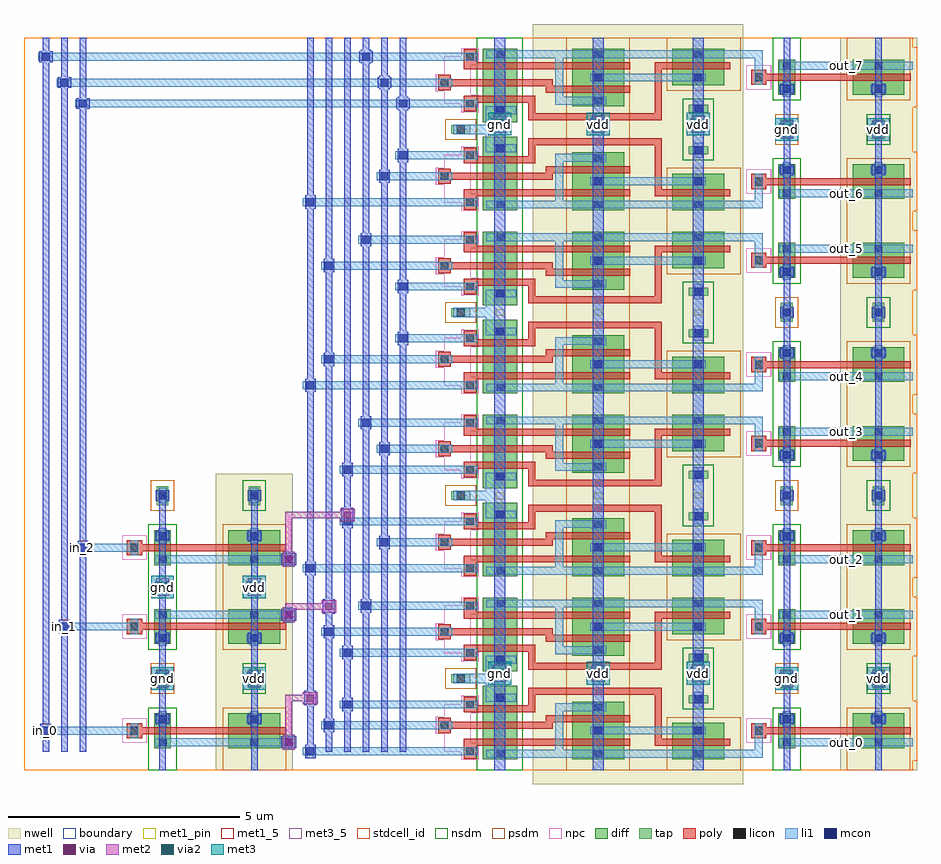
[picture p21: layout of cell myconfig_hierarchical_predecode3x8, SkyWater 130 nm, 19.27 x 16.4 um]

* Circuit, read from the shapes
.subckt myconfig_hierarchical_predecode3x8 gnd in_0 in_1 in_2 out_0 out_1 out_2 out_3 out_4 out_5 out_6 out_7 vdd
XM1 gnd in_0 myconfig_and3_dec_3/A gnd sky130_fd_pr__nfet_01v8 w=0.36 l=0.15
XM2 myconfig_and3_dec_3/B in_1 gnd gnd sky130_fd_pr__nfet_01v8 w=0.36 l=0.15
XM3 gnd in_2 myconfig_and3_dec_3/C gnd sky130_fd_pr__nfet_01v8 w=0.36 l=0.15
XM4 n1 myconfig_and3_dec_3/A myconfig_and3_dec_3/myconfig_pinv_dec_1/A gnd sky130_fd_pr__nfet_01v8 w=0.74 l=0.15
XM5 n2 myconfig_and3_dec_3/B n1 gnd sky130_fd_pr__nfet_01v8 w=0.74 l=0.15
XM6 gnd myconfig_and3_dec_3/C n2 gnd sky130_fd_pr__nfet_01v8 w=0.74 l=0.15
XM7 n3 myconfig_and3_dec_3/C gnd gnd sky130_fd_pr__nfet_01v8 w=0.74 l=0.15
XM8 n4 myconfig_and3_dec_3/B n3 gnd sky130_fd_pr__nfet_01v8 w=0.74 l=0.15
XM9 myconfig_and3_dec_4/myconfig_pinv_dec_1/A in_0 n4 gnd sky130_fd_pr__nfet_01v8 w=0.74 l=0.15
XM10 n5 myconfig_and3_dec_3/A myconfig_and3_dec_5/myconfig_pinv_dec_1/A gnd sky130_fd_pr__nfet_01v8 w=0.74 l=0.15
XM11 n6 in_1 n5 gnd sky130_fd_pr__nfet_01v8 w=0.74 l=0.15
XM12 gnd myconfig_and3_dec_3/C n6 gnd sky130_fd_pr__nfet_01v8 w=0.74 l=0.15
XM13 n7 myconfig_and3_dec_3/C gnd gnd sky130_fd_pr__nfet_01v8 w=0.74 l=0.15
XM14 n8 in_1 n7 gnd sky130_fd_pr__nfet_01v8 w=0.74 l=0.15
XM15 myconfig_and3_dec_6/myconfig_pinv_dec_1/A in_0 n8 gnd sky130_fd_pr__nfet_01v8 w=0.74 l=0.15
XM16 n9 myconfig_and3_dec_3/A myconfig_and3_dec_7/myconfig_pinv_dec_1/A gnd sky130_fd_pr__nfet_01v8 w=0.74 l=0.15
XM17 n10 myconfig_and3_dec_3/B n9 gnd sky130_fd_pr__nfet_01v8 w=0.74 l=0.15
XM18 gnd in_2 n10 gnd sky130_fd_pr__nfet_01v8 w=0.74 l=0.15
XM19 n11 in_2 gnd gnd sky130_fd_pr__nfet_01v8 w=0.74 l=0.15
XM20 n12 myconfig_and3_dec_3/B n11 gnd sky130_fd_pr__nfet_01v8 w=0.74 l=0.15
XM21 myconfig_and3_dec_8/myconfig_pinv_dec_1/A in_0 n12 gnd sky130_fd_pr__nfet_01v8 w=0.74 l=0.15
XM22 n13 myconfig_and3_dec_3/A myconfig_and3_dec_9/myconfig_pinv_dec_1/A gnd sky130_fd_pr__nfet_01v8 w=0.74 l=0.15
XM23 n14 in_1 n13 gnd sky130_fd_pr__nfet_01v8 w=0.74 l=0.15
XM24 gnd in_2 n14 gnd sky130_fd_pr__nfet_01v8 w=0.74 l=0.15
XM25 n15 in_2 gnd gnd sky130_fd_pr__nfet_01v8 w=0.74 l=0.15
XM26 n16 in_1 n15 gnd sky130_fd_pr__nfet_01v8 w=0.74 l=0.15
XM27 myconfig_and3_dec_10/myconfig_pinv_dec_1/A in_0 n16 gnd sky130_fd_pr__nfet_01v8 w=0.74 l=0.15
XM28 gnd myconfig_and3_dec_3/myconfig_pinv_dec_1/A out_0 gnd sky130_fd_pr__nfet_01v8 w=0.36 l=0.15
XM29 out_1 myconfig_and3_dec_4/myconfig_pinv_dec_1/A gnd gnd sky130_fd_pr__nfet_01v8 w=0.36 l=0.15
XM30 gnd myconfig_and3_dec_5/myconfig_pinv_dec_1/A out_2 gnd sky130_fd_pr__nfet_01v8 w=0.36 l=0.15
XM31 out_3 myconfig_and3_dec_6/myconfig_pinv_dec_1/A gnd gnd sky130_fd_pr__nfet_01v8 w=0.36 l=0.15
XM32 gnd myconfig_and3_dec_7/myconfig_pinv_dec_1/A out_4 gnd sky130_fd_pr__nfet_01v8 w=0.36 l=0.15
XM33 out_5 myconfig_and3_dec_8/myconfig_pinv_dec_1/A gnd gnd sky130_fd_pr__nfet_01v8 w=0.36 l=0.15
XM34 gnd myconfig_and3_dec_9/myconfig_pinv_dec_1/A out_6 gnd sky130_fd_pr__nfet_01v8 w=0.36 l=0.15
XM35 out_7 myconfig_and3_dec_10/myconfig_pinv_dec_1/A gnd gnd sky130_fd_pr__nfet_01v8 w=0.36 l=0.15
XM36 vdd in_0 myconfig_and3_dec_3/A vdd sky130_fd_pr__pfet_01v8 w=1.12 l=0.15
XM37 myconfig_and3_dec_3/B in_1 vdd vdd sky130_fd_pr__pfet_01v8 w=1.12 l=0.15
XM38 vdd in_2 myconfig_and3_dec_3/C vdd sky130_fd_pr__pfet_01v8 w=1.12 l=0.15
XM39 vdd myconfig_and3_dec_3/A myconfig_and3_dec_3/myconfig_pinv_dec_1/A vdd sky130_fd_pr__pfet_01v8 w=1.12 l=0.15
XM40 myconfig_and3_dec_3/myconfig_pinv_dec_1/A myconfig_and3_dec_3/B vdd vdd sky130_fd_pr__pfet_01v8 w=1.12 l=0.15
XM41 vdd myconfig_and3_dec_3/B myconfig_and3_dec_4/myconfig_pinv_dec_1/A vdd sky130_fd_pr__pfet_01v8 w=1.12 l=0.15
XM42 myconfig_and3_dec_4/myconfig_pinv_dec_1/A in_0 vdd vdd sky130_fd_pr__pfet_01v8 w=1.12 l=0.15
XM43 vdd myconfig_and3_dec_3/A myconfig_and3_dec_5/myconfig_pinv_dec_1/A vdd sky130_fd_pr__pfet_01v8 w=1.12 l=0.15
XM44 myconfig_and3_dec_5/myconfig_pinv_dec_1/A in_1 vdd vdd sky130_fd_pr__pfet_01v8 w=1.12 l=0.15
XM45 vdd in_1 myconfig_and3_dec_6/myconfig_pinv_dec_1/A vdd sky130_fd_pr__pfet_01v8 w=1.12 l=0.15
XM46 myconfig_and3_dec_6/myconfig_pinv_dec_1/A in_0 vdd vdd sky130_fd_pr__pfet_01v8 w=1.12 l=0.15
XM47 vdd myconfig_and3_dec_3/A myconfig_and3_dec_7/myconfig_pinv_dec_1/A vdd sky130_fd_pr__pfet_01v8 w=1.12 l=0.15
XM48 myconfig_and3_dec_7/myconfig_pinv_dec_1/A myconfig_and3_dec_3/B vdd vdd sky130_fd_pr__pfet_01v8 w=1.12 l=0.15
XM49 vdd myconfig_and3_dec_3/B myconfig_and3_dec_8/myconfig_pinv_dec_1/A vdd sky130_fd_pr__pfet_01v8 w=1.12 l=0.15
XM50 myconfig_and3_dec_8/myconfig_pinv_dec_1/A in_0 vdd vdd sky130_fd_pr__pfet_01v8 w=1.12 l=0.15
XM51 vdd myconfig_and3_dec_3/A myconfig_and3_dec_9/myconfig_pinv_dec_1/A vdd sky130_fd_pr__pfet_01v8 w=1.12 l=0.15
XM52 myconfig_and3_dec_9/myconfig_pinv_dec_1/A in_1 vdd vdd sky130_fd_pr__pfet_01v8 w=1.12 l=0.15
XM53 vdd in_1 myconfig_and3_dec_10/myconfig_pinv_dec_1/A vdd sky130_fd_pr__pfet_01v8 w=1.12 l=0.15
XM54 myconfig_and3_dec_10/myconfig_pinv_dec_1/A in_0 vdd vdd sky130_fd_pr__pfet_01v8 w=1.12 l=0.15
XM55 vdd myconfig_and3_dec_3/C myconfig_and3_dec_3/myconfig_pinv_dec_1/A vdd sky130_fd_pr__pfet_01v8 w=1.12 l=0.15
XM56 myconfig_and3_dec_4/myconfig_pinv_dec_1/A myconfig_and3_dec_3/C vdd vdd sky130_fd_pr__pfet_01v8 w=1.12 l=0.15
XM57 vdd myconfig_and3_dec_3/C myconfig_and3_dec_5/myconfig_pinv_dec_1/A vdd sky130_fd_pr__pfet_01v8 w=1.12 l=0.15
XM58 myconfig_and3_dec_6/myconfig_pinv_dec_1/A myconfig_and3_dec_3/C vdd vdd sky130_fd_pr__pfet_01v8 w=1.12 l=0.15
XM59 vdd in_2 myconfig_and3_dec_7/myconfig_pinv_dec_1/A vdd sky130_fd_pr__pfet_01v8 w=1.12 l=0.15
XM60 myconfig_and3_dec_8/myconfig_pinv_dec_1/A in_2 vdd vdd sky130_fd_pr__pfet_01v8 w=1.12 l=0.15
XM61 vdd in_2 myconfig_and3_dec_9/myconfig_pinv_dec_1/A vdd sky130_fd_pr__pfet_01v8 w=1.12 l=0.15
XM62 myconfig_and3_dec_10/myconfig_pinv_dec_1/A in_2 vdd vdd sky130_fd_pr__pfet_01v8 w=1.12 l=0.15
XM63 vdd myconfig_and3_dec_3/myconfig_pinv_dec_1/A out_0 vdd sky130_fd_pr__pfet_01v8 w=1.12 l=0.15
XM64 out_1 myconfig_and3_dec_4/myconfig_pinv_dec_1/A vdd vdd sky130_fd_pr__pfet_01v8 w=1.12 l=0.15
XM65 vdd myconfig_and3_dec_5/myconfig_pinv_dec_1/A out_2 vdd sky130_fd_pr__pfet_01v8 w=1.12 l=0.15
XM66 out_3 myconfig_and3_dec_6/myconfig_pinv_dec_1/A vdd vdd sky130_fd_pr__pfet_01v8 w=1.12 l=0.15
XM67 vdd myconfig_and3_dec_7/myconfig_pinv_dec_1/A out_4 vdd sky130_fd_pr__pfet_01v8 w=1.12 l=0.15
XM68 out_5 myconfig_and3_dec_8/myconfig_pinv_dec_1/A vdd vdd sky130_fd_pr__pfet_01v8 w=1.12 l=0.15
XM69 vdd myconfig_and3_dec_9/myconfig_pinv_dec_1/A out_6 vdd sky130_fd_pr__pfet_01v8 w=1.12 l=0.15
XM70 out_7 myconfig_and3_dec_10/myconfig_pinv_dec_1/A vdd vdd sky130_fd_pr__pfet_01v8 w=1.12 l=0.15
.ends

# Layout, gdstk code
from math import pi, radians
import gdstk
lib = gdstk.Library(unit=1e-6, precision=1e-09)
def R(c, l, rs):  # rectangles x0, y0, x1, y1
    for r in rs: c.add(gdstk.rectangle(r[:2], r[2:], *l))
def A(c, l, x, y, w, h, nx, ny, dx, dy):  # array of equal rectangles
    R(c, l, [(x+i*dx, y+j*dy, x+i*dx+w, y+j*dy+h) for i in range(nx) for j in range(ny)])
nwell = (64, 20)
diff = (65, 20)
tap = (65, 44)
poly = (66, 20)
licon = (66, 44)
li1 = (67, 20)
mcon = (67, 44)
met1_5 = (68, 5)
met1_pin = (68, 16)
met1 = (68, 20)
via = (68, 44)
met2 = (69, 20)
via2 = (69, 44)
met3_5 = (70, 5)
met3 = (70, 20)
stdcell_id = (81, 4)
nsdm = (93, 44)
psdm = (94, 20)
npc = (95, 20)
boundary = (235, 4)

myconfig_contact_11 = lib.new_cell('myconfig_contact_11')
R(myconfig_contact_11, nwell, [(-0.295,-0.255,0.545,0.585)])
R(myconfig_contact_11, diff, [(0,0.02,0.25,0.31)])
R(myconfig_contact_11, licon, [(0.04,0.08,0.21,0.25)])
R(myconfig_contact_11, li1, [(0.04,0,0.21,0.33)])
R(myconfig_contact_11, stdcell_id, [(-0.295,-0.255,0.545,0.585)])
R(myconfig_contact_11, psdm, [(-0.125,-0.105,0.375,0.435)])
R(myconfig_contact_11, boundary, [(-0.295,-0.255,0.545,0.585)])

myconfig_pmos_m1_w1_120_ = lib.new_cell('myconfig_pmos_m1_w1_120_sli_dli_da_p')
R(myconfig_pmos_m1_w1_120_, nwell, [(-0.27,-0.27,1.02,1.39)])
R(myconfig_pmos_m1_w1_120_, diff, [(0,0,0.75,1.12)])
R(myconfig_pmos_m1_w1_120_, poly, [(0.3,-0.13,0.45,1.25), (0.3,-0.13,0.45,1.25)])
R(myconfig_pmos_m1_w1_120_, li1, [(0.04,0.395,0.21,0.725), (0.54,0.395,0.71,0.725)])
R(myconfig_pmos_m1_w1_120_, stdcell_id, [(-0.27,-0.27,1.02,1.39)])
R(myconfig_pmos_m1_w1_120_, psdm, [(-0.125,-0.125,0.875,1.245)])
R(myconfig_pmos_m1_w1_120_, boundary, [(-0.27,-0.27,1.02,1.39)])
myconfig_pmos_m1_w1_120_.add(gdstk.Reference(myconfig_contact_11, (0,0.395)))
myconfig_pmos_m1_w1_120_.add(gdstk.Reference(myconfig_contact_11, (0.5,0.395)))
myconfig_pmos_m1_w1_120_.add(gdstk.Label('G', (0.375,0.56), layer=66, texttype=5))
myconfig_pmos_m1_w1_120_.add(gdstk.Label('S', (0.125,0.56), layer=67, texttype=5))
myconfig_pmos_m1_w1_120_.add(gdstk.Label('D', (0.625,0.56), layer=67, texttype=5))

myconfig_contact_10 = lib.new_cell('myconfig_contact_10')
R(myconfig_contact_10, diff, [(0,0.02,0.25,0.31)])
R(myconfig_contact_10, licon, [(0.04,0.08,0.21,0.25)])
R(myconfig_contact_10, li1, [(0.04,0,0.21,0.33)])
R(myconfig_contact_10, stdcell_id, [(-0.125,-0.105,0.375,0.435)])
R(myconfig_contact_10, nsdm, [(-0.125,-0.105,0.375,0.435)])
R(myconfig_contact_10, boundary, [(-0.125,-0.105,0.375,0.435)])

myconfig_nmos_m1_w0_360_ = lib.new_cell('myconfig_nmos_m1_w0_360_sli_dli_da_p')
R(myconfig_nmos_m1_w0_360_, diff, [(0,0,0.75,0.36)])
R(myconfig_nmos_m1_w0_360_, poly, [(0.3,-0.13,0.45,0.49), (0.3,-0.13,0.45,0.49)])
R(myconfig_nmos_m1_w0_360_, li1, [(0.04,0.015,0.21,0.345), (0.54,0.015,0.71,0.345)])
R(myconfig_nmos_m1_w0_360_, stdcell_id, [(-0.125,-0.13,0.875,0.49)])
R(myconfig_nmos_m1_w0_360_, nsdm, [(-0.125,-0.125,0.875,0.485)])
R(myconfig_nmos_m1_w0_360_, boundary, [(-0.125,-0.13,0.875,0.49)])
myconfig_nmos_m1_w0_360_.add(gdstk.Reference(myconfig_contact_10, (0,0.015)))
myconfig_nmos_m1_w0_360_.add(gdstk.Reference(myconfig_contact_10, (0.5,0.015)))
myconfig_nmos_m1_w0_360_.add(gdstk.Label('G', (0.375,0.18), layer=66, texttype=5))
myconfig_nmos_m1_w0_360_.add(gdstk.Label('S', (0.125,0.18), layer=67, texttype=5))
myconfig_nmos_m1_w0_360_.add(gdstk.Label('D', (0.625,0.18), layer=67, texttype=5))

myconfig_contact_12 = lib.new_cell('myconfig_contact_12')
R(myconfig_contact_12, nwell, [(-0.295,-0.215,0.545,0.625)])
R(myconfig_contact_12, tap, [(0,0,0.25,0.41)])
R(myconfig_contact_12, licon, [(0.04,0.12,0.21,0.29)])
R(myconfig_contact_12, li1, [(0.04,0.04,0.21,0.37)])
R(myconfig_contact_12, stdcell_id, [(-0.295,-0.215,0.545,0.625)])
R(myconfig_contact_12, nsdm, [(-0.125,-0.125,0.375,0.535)])
R(myconfig_contact_12, boundary, [(-0.295,-0.215,0.545,0.625)])

myconfig_contact_13 = lib.new_cell('myconfig_contact_13')
R(myconfig_contact_13, li1, [(0.06,0,0.23,0.33)])
R(myconfig_contact_13, mcon, [(0.06,0.08,0.23,0.25)])
R(myconfig_contact_13, met1, [(0,0.05,0.29,0.28)])
R(myconfig_contact_13, stdcell_id, [(0,0,0.29,0.33)])
R(myconfig_contact_13, boundary, [(0,0,0.29,0.33)])

myconfig_contact_14 = lib.new_cell('myconfig_contact_14')
R(myconfig_contact_14, tap, [(0,0,0.25,0.41)])
R(myconfig_contact_14, licon, [(0.04,0.12,0.21,0.29)])
R(myconfig_contact_14, li1, [(0.04,0.04,0.21,0.37)])
R(myconfig_contact_14, stdcell_id, [(-0.125,-0.125,0.375,0.535)])
R(myconfig_contact_14, psdm, [(-0.125,-0.125,0.375,0.535)])
R(myconfig_contact_14, boundary, [(-0.125,-0.125,0.375,0.535)])

myconfig_contact_15 = lib.new_cell('myconfig_contact_15')
R(myconfig_contact_15, poly, [(0,0,0.33,0.33)])
R(myconfig_contact_15, licon, [(0.08,0.08,0.25,0.25)])
R(myconfig_contact_15, li1, [(0.08,0,0.25,0.33)])
R(myconfig_contact_15, stdcell_id, [(-0.1,-0.1,0.43,0.43)])
R(myconfig_contact_15, npc, [(-0.1,-0.1,0.43,0.43)])
R(myconfig_contact_15, boundary, [(-0.1,-0.1,0.43,0.43)])

myconfig_pinv_dec = lib.new_cell('myconfig_pinv_dec')
R(myconfig_pinv_dec, nwell, [(2.14,0,3.8,2.45)])
R(myconfig_pinv_dec, poly, [(0.385,0.775,0.68,0.925), (1.3,0.775,2.28,0.925)])
R(myconfig_pinv_dec, li1, [(0.825,0.515,3.71,0.685), (0.3,0.685,0.47,1.015)])
R(myconfig_pinv_dec, met1_5, [(0.92,0,1.06,1.975), (2.9,0,3.04,1.975)])
R(myconfig_pinv_dec, met1, [(0.92,0,1.06,1.975), (2.9,0,3.04,1.975)])
R(myconfig_pinv_dec, stdcell_id, [(0,0,3.71,1.975), (0,0,3.71,1.975)])
R(myconfig_pinv_dec, nsdm, [(0.685,0,1.295,1.225)])
R(myconfig_pinv_dec, psdm, [(2.285,0,3.655,1.225)])
R(myconfig_pinv_dec, boundary, [(0,0,3.71,1.975), (0,0,3.71,1.975)])
myconfig_pinv_dec.add(gdstk.Reference(myconfig_pmos_m1_w1_120_, (2.41,1.225), rotation=3*pi/2))
myconfig_pinv_dec.add(gdstk.Reference(myconfig_nmos_m1_w0_360_, (0.81,1.225), rotation=3*pi/2))
myconfig_pinv_dec.add(gdstk.Reference(myconfig_contact_12, (2.845,1.77)))
myconfig_pinv_dec.add(gdstk.Reference(myconfig_contact_13, (2.825,1.81)))
myconfig_pinv_dec.add(gdstk.Reference(myconfig_contact_14, (0.865,1.77)))
myconfig_pinv_dec.add(gdstk.Reference(myconfig_contact_13, (0.845,1.81)))
myconfig_pinv_dec.add(gdstk.Reference(myconfig_contact_15, (0.22,0.685)))
myconfig_pinv_dec.add(gdstk.Reference(myconfig_contact_13, (0.845,0.935)))
myconfig_pinv_dec.add(gdstk.Reference(myconfig_contact_13, (2.825,0.935)))
myconfig_pinv_dec.add(gdstk.Label('A', (0.385,0.85), layer=67, texttype=5))
myconfig_pinv_dec.add(gdstk.Label('Z', (2.268,0.6), layer=67, texttype=5))
myconfig_pinv_dec.add(gdstk.Label('gnd', (0.99,0.988), layer=68, texttype=5))
myconfig_pinv_dec.add(gdstk.Label('vdd', (2.97,0.988), layer=68, texttype=5))

sky130_fd_bd_sram__openr = lib.new_cell('sky130_fd_bd_sram__openram_dp_nand3_dec')
R(sky130_fd_bd_sram__openr, nwell, [(2.07,-0.3,6.61,2.37)])
R(sky130_fd_bd_sram__openr, diff, [(0.99,0.23,1.73,1.82), (2.92,0.23,4.04,1.48), (5.08,0.23,6.2,1.02)])
R(sky130_fd_bd_sram__openr, tap, [(5.43,1.44,5.85,1.61), (0.31,1.885,0.72,2.07)])
R(sky130_fd_bd_sram__openr, poly, [(0.58,0.24,0.85,0.53), (0.58,0.53,4.17,0.68), (4.7,0.53,6.33,0.68), (4.7,0.68,4.85,1.63), (0.03,0.8,0.3,0.89), (0.03,0.89,2.5,1.03), (0.03,1.03,4.17,1.04), (0.03,1.04,0.3,1.13), (2.35,1.04,4.17,1.18), (0.58,1.25,2.12,1.4), (0.58,1.4,0.85,1.58), (1.97,1.4,2.12,1.63), (1.97,1.63,4.85,1.78)])
A(sky130_fd_bd_sram__openr, licon, 3.395, 0.27, 0.17, 0.17, 1, 3, 0, 0.5)
R(sky130_fd_bd_sram__openr, licon, [(1.295,0.27,1.465,0.44), (5.555,0.27,5.725,0.44), (0.63,0.32,0.8,0.49), (5.555,0.77,5.725,0.94), (0.08,0.88,0.25,1.05), (0.63,1.33,0.8,1.5), (5.55,1.44,5.72,1.61), (1.305,1.48,1.475,1.65), (0.43,1.89,0.6,2.06)])
R(sky130_fd_bd_sram__openr, li1, [(1.06,0.27,6.61,0.44), (1.06,0.27,6.61,0.44), (0.55,0.32,0.88,0.49), (0.55,0.32,0.88,0.49), (2.555,0.44,2.725,1.275), (3.31,0.77,5.805,0.94), (0,0.88,0.33,1.05), (0,0.88,0.33,1.05), (3.31,1.27,3.65,1.275), (2.555,1.275,3.65,1.44), (0.55,1.33,0.88,1.5), (0.55,1.33,0.88,1.5), (5.55,1.36,5.74,1.69), (2.555,1.44,3.435,1.445), (1.05,1.48,1.71,1.65), (1.05,1.65,1.25,1.885), (0.35,1.885,1.25,2.075)])
R(sky130_fd_bd_sram__openr, mcon, [(3.395,0.77,3.565,0.94), (5.555,0.77,5.725,0.94), (5.555,1.44,5.725,1.61), (1.27,1.48,1.44,1.65)])
R(sky130_fd_bd_sram__openr, met1_5, [(1.24,0,1.47,2.09), (3.36,0,3.6,2.09), (5.52,0,5.76,2.09)])
R(sky130_fd_bd_sram__openr, met1_pin, [(1.27,1.9,1.45,1.99), (3.39,1.91,3.57,2), (5.55,1.94,5.73,2.03)])
R(sky130_fd_bd_sram__openr, met1, [(1.24,0,1.47,2.09), (1.24,0,1.47,2.09), (3.36,0,3.6,2.09), (3.36,0,3.6,2.09), (5.52,0,5.76,2.09), (5.52,0,5.76,2.09)])
R(sky130_fd_bd_sram__openr, nsdm, [(0.865,0,1.855,1.975), (5.305,1.315,5.975,1.975)])
R(sky130_fd_bd_sram__openr, psdm, [(2.795,0,4.165,1.975), (4.955,0,6.56,1.145), (0.185,1.76,0.845,2.195)])
R(sky130_fd_bd_sram__openr, npc, [(0.53,0.22,0.9,0.395), (0.155,0.395,0.9,0.59), (0.155,0.59,0.725,0.78), (-0.02,0.78,0.725,1.15), (0.155,1.15,0.725,1.23), (0.155,1.23,0.9,1.425), (0.53,1.425,0.9,1.6)])
R(sky130_fd_bd_sram__openr, boundary, [(0,0,6.56,1.975)])
sky130_fd_bd_sram__openr.add(gdstk.Label('VDD', (3.48,1.955), layer=68, texttype=16))
sky130_fd_bd_sram__openr.add(gdstk.Label('VDD', (5.64,1.985), layer=68, texttype=16))
sky130_fd_bd_sram__openr.add(gdstk.Label('GND', (1.36,1.945), layer=68, texttype=16))
sky130_fd_bd_sram__openr.add(gdstk.Label('C', (0.7,1.42), layer=67, texttype=16))
sky130_fd_bd_sram__openr.add(gdstk.Label('Z', (6.47,0.355), layer=67, texttype=16))
sky130_fd_bd_sram__openr.add(gdstk.Label('B', (0.15,0.98), layer=67, texttype=16))
sky130_fd_bd_sram__openr.add(gdstk.Label('A', (0.7,0.42), layer=67, texttype=16))
sky130_fd_bd_sram__openr.add(gdstk.Label('A', (0.715,0.405), layer=67, texttype=5))
sky130_fd_bd_sram__openr.add(gdstk.Label('B', (0.165,0.965), layer=67, texttype=5))
sky130_fd_bd_sram__openr.add(gdstk.Label('C', (0.715,1.415), layer=67, texttype=5))
sky130_fd_bd_sram__openr.add(gdstk.Label('Z', (3.835,0.355), layer=67, texttype=5))
sky130_fd_bd_sram__openr.add(gdstk.Label('vdd', (3.48,1.045), layer=68, texttype=5))
sky130_fd_bd_sram__openr.add(gdstk.Label('vdd', (5.64,1.045), layer=68, texttype=5))
sky130_fd_bd_sram__openr.add(gdstk.Label('gnd', (1.355,1.045), layer=68, texttype=5))

myconfig_and3_dec = lib.new_cell('myconfig_and3_dec')
R(myconfig_and3_dec, li1, [(3.835,0.27,6.945,0.44), (6.86,0.27,7.03,0.44), (0.55,0.32,0.88,0.49), (6.86,0.355,7.03,0.85), (7.385,0.515,10.27,0.685), (0,0.88,0.33,1.05), (0.55,1.33,0.88,1.5)])
R(myconfig_and3_dec, met1_5, [(1.24,0,1.47,2.09), (3.36,0,3.6,2.09), (5.52,0,5.76,2.09), (7.48,0,7.62,1.975), (9.46,0,9.6,1.975)])
R(myconfig_and3_dec, met1, [(1.24,0,1.47,2.09), (3.36,0,3.6,2.09), (5.52,0,5.76,2.09), (7.48,0,7.62,1.975), (9.46,0,9.6,1.975)])
R(myconfig_and3_dec, stdcell_id, [(0,0,10.27,1.975)])
R(myconfig_and3_dec, boundary, [(0,0,10.27,1.975)])
myconfig_and3_dec.add(gdstk.Reference(sky130_fd_bd_sram__openr, (0,0)))
myconfig_and3_dec.add(gdstk.Reference(myconfig_pinv_dec, (6.56,0)))
myconfig_and3_dec.add(gdstk.Label('Z', (8.828,0.6), layer=67, texttype=5))
myconfig_and3_dec.add(gdstk.Label('A', (0.715,0.405), layer=67, texttype=5))
myconfig_and3_dec.add(gdstk.Label('B', (0.165,0.965), layer=67, texttype=5))
myconfig_and3_dec.add(gdstk.Label('C', (0.715,1.415), layer=67, texttype=5))
myconfig_and3_dec.add(gdstk.Label('vdd', (9.53,0.988), layer=68, texttype=5))
myconfig_and3_dec.add(gdstk.Label('vdd', (5.64,1.045), layer=68, texttype=5))
myconfig_and3_dec.add(gdstk.Label('vdd', (3.48,1.045), layer=68, texttype=5))
myconfig_and3_dec.add(gdstk.Label('gnd', (7.55,0.988), layer=68, texttype=5))
myconfig_and3_dec.add(gdstk.Label('gnd', (1.355,1.045), layer=68, texttype=5))

myconfig_contact_16 = lib.new_cell('myconfig_contact_16')
R(myconfig_contact_16, li1, [(0,0.06,0.33,0.23)])
R(myconfig_contact_16, mcon, [(0.08,0.06,0.25,0.23)])
R(myconfig_contact_16, met1, [(0.05,0,0.28,0.29)])
R(myconfig_contact_16, stdcell_id, [(0,0,0.33,0.29)])
R(myconfig_contact_16, boundary, [(0,0,0.33,0.29)])

myconfig_contact_18 = lib.new_cell('myconfig_contact_18')
R(myconfig_contact_18, met1, [(0,0.03,0.32,0.29)])
R(myconfig_contact_18, via, [(0.085,0.085,0.235,0.235)])
R(myconfig_contact_18, met2, [(0.03,0,0.29,0.32)])
R(myconfig_contact_18, stdcell_id, [(0,0,0.32,0.32)])
R(myconfig_contact_18, boundary, [(0,0,0.32,0.32)])

myconfig_contact_19 = lib.new_cell('myconfig_contact_19')
R(myconfig_contact_19, met1, [(0.03,0,0.29,0.32)])
R(myconfig_contact_19, via, [(0.085,0.085,0.235,0.235)])
R(myconfig_contact_19, met2, [(0,0.03,0.32,0.29)])
R(myconfig_contact_19, stdcell_id, [(0,0,0.32,0.32)])
R(myconfig_contact_19, boundary, [(0,0,0.32,0.32)])

myconfig_contact_20 = lib.new_cell('myconfig_contact_20')
R(myconfig_contact_20, li1, [(0,0.03,0.33,0.2)])
R(myconfig_contact_20, mcon, [(0.08,0.03,0.25,0.2)])
R(myconfig_contact_20, met1, [(0.02,0,0.31,0.23)])
R(myconfig_contact_20, stdcell_id, [(0,0,0.33,0.23)])
R(myconfig_contact_20, boundary, [(0,0,0.33,0.23)])

myconfig_contact_21 = lib.new_cell('myconfig_contact_21')
R(myconfig_contact_21, met2, [(0.025,0,0.305,0.37)])
R(myconfig_contact_21, via2, [(0.065,0.085,0.265,0.285)])
R(myconfig_contact_21, met3, [(0,0.02,0.33,0.35)])
R(myconfig_contact_21, stdcell_id, [(0,0,0.33,0.37)])
R(myconfig_contact_21, boundary, [(0,0,0.33,0.37)])

myconfig_hierarchical_pr = lib.new_cell('myconfig_hierarchical_predecode3x8')
A(myconfig_hierarchical_pr, li1, 6.18, 0.32, 3.445, 0.17, 1, 4, 0, 3.95)
A(myconfig_hierarchical_pr, li1, 7.38, 3.46, 2.245, 0.17, 1, 4, 0, 3.95)
R(myconfig_hierarchical_pr, li1, [(9.54,0.32,9.71,0.49), (16.295,0.515,19.18,0.685), (0.47,0.765,2.385,0.935), (2.3,0.765,2.47,0.935), (6.58,0.88,9.075,1.05), (8.99,0.88,9.16,1.05), (6.98,1.33,9.625,1.5), (9.54,1.33,9.71,1.5), (6.98,2.45,9.625,2.62), (9.54,2.45,9.71,2.62), (6.58,2.9,9.075,3.07), (8.99,2.9,9.16,3.07), (0.87,3.015,2.385,3.185), (2.3,3.015,2.47,3.185), (16.295,3.265,19.18,3.435), (9.54,3.46,9.71,3.63), (9.54,4.27,9.71,4.44), (16.295,4.465,19.18,4.635), (1.27,4.715,2.385,4.885), (2.3,4.715,2.47,4.885), (7.78,4.83,9.075,5), (8.99,4.83,9.16,5), (6.98,5.28,9.625,5.45), (9.54,5.28,9.71,5.45), (6.98,6.4,9.625,6.57), (9.54,6.4,9.71,6.57), (7.78,6.85,9.075,7.02), (8.99,6.85,9.16,7.02), (16.295,7.215,19.18,7.385), (9.54,7.41,9.71,7.58), (9.54,8.22,9.71,8.39), (16.295,8.415,19.18,8.585), (6.58,8.78,9.075,8.95), (8.99,8.78,9.16,8.95), (8.18,9.23,9.625,9.4), (9.54,9.23,9.71,9.4), (8.18,10.35,9.625,10.52), (9.54,10.35,9.71,10.52), (6.58,10.8,9.075,10.97), (8.99,10.8,9.16,10.97), (16.295,11.165,19.18,11.335), (9.54,11.36,9.71,11.53), (9.54,12.17,9.71,12.34), (16.295,12.365,19.18,12.535), (7.78,12.73,9.075,12.9), (8.99,12.73,9.16,12.9), (8.18,13.18,9.625,13.35), (9.54,13.18,9.71,13.35), (1.27,14.3,8.18,14.47), (8.18,14.3,9.625,14.47), (9.54,14.3,9.71,14.47), (0.87,14.75,7.78,14.92), (7.78,14.75,9.075,14.92), (8.99,14.75,9.16,14.92), (16.295,15.115,19.18,15.285), (0.47,15.31,7.38,15.48), (9.54,15.31,9.71,15.48)])
R(myconfig_hierarchical_pr, met1_5, [(0.355,0.705,0.585,0.995), (0.755,2.955,0.985,3.245), (1.155,4.655,1.385,4.945)])
A(myconfig_hierarchical_pr, met1, 0.4, 0.4, 0.14, 15.4, 3, 1, 0.4, 0)
A(myconfig_hierarchical_pr, met1, 6.11, 0.4, 0.14, 15.4, 6, 1, 0.4, 0)
R(myconfig_hierarchical_pr, met1, [(2.92,0.4,3.06,5.925), (4.9,0.4,5.04,5.925), (10.15,0.4,10.38,15.8), (12.27,0.4,12.51,15.8), (14.43,0.4,14.67,15.8), (16.39,0.4,16.53,15.8), (18.37,0.4,18.51,15.8), (5.55,0.47,5.87,0.73), (0.355,0.705,0.585,0.995), (2.83,1.845,3.15,2.105), (4.81,1.845,5.13,2.105), (16.3,1.845,16.62,2.105), (18.28,1.845,18.6,2.105), (10.105,1.96,10.425,2.22), (12.23,1.96,12.55,2.22), (14.39,1.96,14.71,2.22), (0.755,2.955,0.985,3.245), (5.55,3.22,5.87,3.48), (2.83,3.82,3.15,4.08), (4.81,3.82,5.13,4.08), (5.55,4.42,5.87,4.68), (1.155,4.655,1.385,4.945), (16.3,13.695,16.62,13.955), (18.28,13.695,18.6,13.955), (10.105,13.81,10.425,14.07), (12.23,13.81,12.55,14.07), (14.39,13.81,14.71,14.07)])
A(myconfig_hierarchical_pr, met2, 5.64, 1.485, 0.14, 0.14, 1, 3, 0, 1.975)
R(myconfig_hierarchical_pr, met2, [(5.64,0.6,5.78,1.555), (5.71,1.485,6.18,1.625), (2.85,1.855,3.13,2.095), (4.83,1.855,5.11,2.095), (16.32,1.855,16.6,2.095), (18.3,1.855,18.58,2.095), (10.125,1.97,10.405,2.21), (12.25,1.97,12.53,2.21), (14.41,1.97,14.69,2.21), (5.64,3.35,5.78,3.53), (5.71,3.46,6.58,3.6), (2.85,3.83,3.13,4.07), (4.83,3.83,5.11,4.07), (5.64,4.55,5.78,5.505), (5.71,5.435,6.98,5.575), (16.32,13.705,16.6,13.945), (18.3,13.705,18.58,13.945), (10.125,13.82,10.405,14.06), (12.25,13.82,12.53,14.06), (14.41,13.82,14.69,14.06)])
R(myconfig_hierarchical_pr, met3_5, [(2.745,1.73,3.235,2.22), (4.725,1.73,5.215,2.22), (16.215,1.73,16.705,2.22), (18.195,1.73,18.685,2.22), (10.02,1.845,10.51,2.335), (12.145,1.845,12.635,2.335), (14.305,1.845,14.795,2.335), (2.745,3.705,3.235,4.195), (4.725,3.705,5.215,4.195), (16.215,13.58,16.705,14.07), (18.195,13.58,18.685,14.07), (10.02,13.695,10.51,14.185), (12.145,13.695,12.635,14.185), (14.305,13.695,14.795,14.185)])
R(myconfig_hierarchical_pr, met3, [(2.745,1.73,3.235,2.22), (4.725,1.73,5.215,2.22), (16.215,1.73,16.705,2.22), (18.195,1.73,18.685,2.22), (10.02,1.845,10.51,2.335), (12.145,1.845,12.635,2.335), (14.305,1.845,14.795,2.335), (2.745,3.705,3.235,4.195), (4.725,3.705,5.215,4.195), (16.215,13.58,16.705,14.07), (18.195,13.58,18.685,14.07), (10.02,13.695,10.51,14.185), (12.145,13.695,12.635,14.185), (14.305,13.695,14.795,14.185)])
R(myconfig_hierarchical_pr, stdcell_id, [(0,0,19.18,15.8)])
R(myconfig_hierarchical_pr, boundary, [(0,0,19.18,15.8)])
myconfig_hierarchical_pr.add(gdstk.Reference(myconfig_pinv_dec, (2,0)))
myconfig_hierarchical_pr.add(gdstk.Reference(myconfig_pinv_dec, (2,3.95), x_reflection=True))
myconfig_hierarchical_pr.add(gdstk.Reference(myconfig_pinv_dec, (2,3.95)))
myconfig_hierarchical_pr.add(gdstk.Reference(myconfig_and3_dec, (8.91,0)))
myconfig_hierarchical_pr.add(gdstk.Reference(myconfig_and3_dec, (8.91,3.95), x_reflection=True))
myconfig_hierarchical_pr.add(gdstk.Reference(myconfig_and3_dec, (8.91,3.95)))
myconfig_hierarchical_pr.add(gdstk.Reference(myconfig_and3_dec, (8.91,7.9), x_reflection=True))
myconfig_hierarchical_pr.add(gdstk.Reference(myconfig_and3_dec, (8.91,7.9)))
myconfig_hierarchical_pr.add(gdstk.Reference(myconfig_and3_dec, (8.91,11.85), x_reflection=True))
myconfig_hierarchical_pr.add(gdstk.Reference(myconfig_and3_dec, (8.91,11.85)))
myconfig_hierarchical_pr.add(gdstk.Reference(myconfig_and3_dec, (8.91,15.8), x_reflection=True))
myconfig_hierarchical_pr.add(gdstk.Reference(myconfig_contact_16, (0.305,0.705)))
myconfig_hierarchical_pr.add(gdstk.Reference(myconfig_contact_16, (0.705,2.955)))
myconfig_hierarchical_pr.add(gdstk.Reference(myconfig_contact_16, (1.105,4.655)))
myconfig_hierarchical_pr.add(gdstk.Reference(myconfig_contact_16, (6.015,0.26)))
myconfig_hierarchical_pr.add(gdstk.Reference(myconfig_contact_16, (6.415,0.82)))
myconfig_hierarchical_pr.add(gdstk.Reference(myconfig_contact_16, (6.815,1.27)))
myconfig_hierarchical_pr.add(gdstk.Reference(myconfig_contact_16, (7.215,3.4)))
myconfig_hierarchical_pr.add(gdstk.Reference(myconfig_contact_16, (6.415,2.84)))
myconfig_hierarchical_pr.add(gdstk.Reference(myconfig_contact_16, (6.815,2.39)))
myconfig_hierarchical_pr.add(gdstk.Reference(myconfig_contact_16, (6.015,4.21)))
myconfig_hierarchical_pr.add(gdstk.Reference(myconfig_contact_16, (7.615,4.77)))
myconfig_hierarchical_pr.add(gdstk.Reference(myconfig_contact_16, (6.815,5.22)))
myconfig_hierarchical_pr.add(gdstk.Reference(myconfig_contact_16, (7.215,7.35)))
myconfig_hierarchical_pr.add(gdstk.Reference(myconfig_contact_16, (7.615,6.79)))
myconfig_hierarchical_pr.add(gdstk.Reference(myconfig_contact_16, (6.815,6.34)))
myconfig_hierarchical_pr.add(gdstk.Reference(myconfig_contact_16, (6.015,8.16)))
myconfig_hierarchical_pr.add(gdstk.Reference(myconfig_contact_16, (6.415,8.72)))
myconfig_hierarchical_pr.add(gdstk.Reference(myconfig_contact_16, (8.015,9.17)))
myconfig_hierarchical_pr.add(gdstk.Reference(myconfig_contact_16, (7.215,11.3)))
myconfig_hierarchical_pr.add(gdstk.Reference(myconfig_contact_16, (6.415,10.74)))
myconfig_hierarchical_pr.add(gdstk.Reference(myconfig_contact_16, (8.015,10.29)))
myconfig_hierarchical_pr.add(gdstk.Reference(myconfig_contact_16, (6.015,12.11)))
myconfig_hierarchical_pr.add(gdstk.Reference(myconfig_contact_16, (7.615,12.67)))
myconfig_hierarchical_pr.add(gdstk.Reference(myconfig_contact_16, (8.015,13.12)))
myconfig_hierarchical_pr.add(gdstk.Reference(myconfig_contact_16, (7.215,15.25)))
myconfig_hierarchical_pr.add(gdstk.Reference(myconfig_contact_16, (7.615,14.69)))
myconfig_hierarchical_pr.add(gdstk.Reference(myconfig_contact_16, (8.015,14.24)))
myconfig_hierarchical_pr.add(gdstk.Reference(myconfig_contact_13, (5.565,0.435)))
myconfig_hierarchical_pr.add(gdstk.Reference(myconfig_contact_18, (5.55,0.44)))
myconfig_hierarchical_pr.add(gdstk.Reference(myconfig_contact_19, (6.02,1.395)))
myconfig_hierarchical_pr.add(gdstk.Reference(myconfig_contact_13, (5.565,3.185)))
myconfig_hierarchical_pr.add(gdstk.Reference(myconfig_contact_18, (5.55,3.19)))
myconfig_hierarchical_pr.add(gdstk.Reference(myconfig_contact_19, (6.42,3.37)))
myconfig_hierarchical_pr.add(gdstk.Reference(myconfig_contact_13, (5.565,4.385)))
myconfig_hierarchical_pr.add(gdstk.Reference(myconfig_contact_18, (5.55,4.39)))
myconfig_hierarchical_pr.add(gdstk.Reference(myconfig_contact_19, (6.82,5.345)))
myconfig_hierarchical_pr.add(gdstk.Reference(myconfig_contact_20, (0.305,15.28)))
myconfig_hierarchical_pr.add(gdstk.Reference(myconfig_contact_20, (7.215,15.28)))
myconfig_hierarchical_pr.add(gdstk.Reference(myconfig_contact_20, (0.705,14.72)))
myconfig_hierarchical_pr.add(gdstk.Reference(myconfig_contact_20, (7.615,14.72)))
myconfig_hierarchical_pr.add(gdstk.Reference(myconfig_contact_20, (1.105,14.27)))
myconfig_hierarchical_pr.add(gdstk.Reference(myconfig_contact_20, (8.015,14.27)))
myconfig_hierarchical_pr.add(gdstk.Reference(myconfig_contact_18, (4.81,1.815)))
myconfig_hierarchical_pr.add(gdstk.Reference(myconfig_contact_21, (4.805,1.79)))
myconfig_hierarchical_pr.add(gdstk.Reference(myconfig_contact_18, (4.81,3.79)))
myconfig_hierarchical_pr.add(gdstk.Reference(myconfig_contact_21, (4.805,3.765)))
myconfig_hierarchical_pr.add(gdstk.Reference(myconfig_contact_18, (18.28,1.815)))
myconfig_hierarchical_pr.add(gdstk.Reference(myconfig_contact_21, (18.275,1.79)))
myconfig_hierarchical_pr.add(gdstk.Reference(myconfig_contact_18, (14.39,1.93)))
myconfig_hierarchical_pr.add(gdstk.Reference(myconfig_contact_21, (14.385,1.905)))
myconfig_hierarchical_pr.add(gdstk.Reference(myconfig_contact_18, (12.23,1.93)))
myconfig_hierarchical_pr.add(gdstk.Reference(myconfig_contact_21, (12.225,1.905)))
myconfig_hierarchical_pr.add(gdstk.Reference(myconfig_contact_18, (18.28,13.665)))
myconfig_hierarchical_pr.add(gdstk.Reference(myconfig_contact_21, (18.275,13.64)))
myconfig_hierarchical_pr.add(gdstk.Reference(myconfig_contact_18, (14.39,13.78)))
myconfig_hierarchical_pr.add(gdstk.Reference(myconfig_contact_21, (14.385,13.755)))
myconfig_hierarchical_pr.add(gdstk.Reference(myconfig_contact_18, (12.23,13.78)))
myconfig_hierarchical_pr.add(gdstk.Reference(myconfig_contact_21, (12.225,13.755)))
myconfig_hierarchical_pr.add(gdstk.Reference(myconfig_contact_18, (2.83,1.815)))
myconfig_hierarchical_pr.add(gdstk.Reference(myconfig_contact_21, (2.825,1.79)))
myconfig_hierarchical_pr.add(gdstk.Reference(myconfig_contact_18, (2.83,3.79)))
myconfig_hierarchical_pr.add(gdstk.Reference(myconfig_contact_21, (2.825,3.765)))
myconfig_hierarchical_pr.add(gdstk.Reference(myconfig_contact_18, (10.105,1.93)))
myconfig_hierarchical_pr.add(gdstk.Reference(myconfig_contact_21, (10.1,1.905)))
myconfig_hierarchical_pr.add(gdstk.Reference(myconfig_contact_18, (16.3,1.815)))
myconfig_hierarchical_pr.add(gdstk.Reference(myconfig_contact_21, (16.295,1.79)))
myconfig_hierarchical_pr.add(gdstk.Reference(myconfig_contact_18, (10.105,13.78)))
myconfig_hierarchical_pr.add(gdstk.Reference(myconfig_contact_21, (10.1,13.755)))
myconfig_hierarchical_pr.add(gdstk.Reference(myconfig_contact_18, (16.3,13.665)))
myconfig_hierarchical_pr.add(gdstk.Reference(myconfig_contact_21, (16.295,13.64)))
myconfig_hierarchical_pr.add(gdstk.Label('in_0', (0.47,0.85), layer=68, texttype=5))
myconfig_hierarchical_pr.add(gdstk.Label('in_1', (0.87,3.1), layer=68, texttype=5))
myconfig_hierarchical_pr.add(gdstk.Label('in_2', (1.27,4.8), layer=68, texttype=5))
myconfig_hierarchical_pr.add(gdstk.Label('out_0', (17.738,0.6), layer=67, texttype=5))
myconfig_hierarchical_pr.add(gdstk.Label('out_1', (17.738,3.35), layer=67, texttype=5))
myconfig_hierarchical_pr.add(gdstk.Label('out_2', (17.738,4.55), layer=67, texttype=5))
myconfig_hierarchical_pr.add(gdstk.Label('out_3', (17.738,7.3), layer=67, texttype=5))
myconfig_hierarchical_pr.add(gdstk.Label('out_4', (17.738,8.5), layer=67, texttype=5))
myconfig_hierarchical_pr.add(gdstk.Label('out_5', (17.738,11.25), layer=67, texttype=5))
myconfig_hierarchical_pr.add(gdstk.Label('out_6', (17.738,12.45), layer=67, texttype=5))
myconfig_hierarchical_pr.add(gdstk.Label('out_7', (17.738,15.2), layer=67, texttype=5))
myconfig_hierarchical_pr.add(gdstk.Label('vdd', (14.55,2.09), layer=70, texttype=5))
myconfig_hierarchical_pr.add(gdstk.Label('vdd', (14.55,13.94), layer=70, texttype=5))
myconfig_hierarchical_pr.add(gdstk.Label('vdd', (4.97,1.975), layer=70, texttype=5))
myconfig_hierarchical_pr.add(gdstk.Label('vdd', (4.97,3.95), layer=70, texttype=5))
myconfig_hierarchical_pr.add(gdstk.Label('vdd', (18.44,1.975), layer=70, texttype=5))
myconfig_hierarchical_pr.add(gdstk.Label('vdd', (12.39,13.94), layer=70, texttype=5))
myconfig_hierarchical_pr.add(gdstk.Label('vdd', (12.39,2.09), layer=70, texttype=5))
myconfig_hierarchical_pr.add(gdstk.Label('vdd', (18.44,13.825), layer=70, texttype=5))
myconfig_hierarchical_pr.add(gdstk.Label('gnd', (16.46,1.975), layer=70, texttype=5))
myconfig_hierarchical_pr.add(gdstk.Label('gnd', (2.99,3.95), layer=70, texttype=5))
myconfig_hierarchical_pr.add(gdstk.Label('gnd', (10.265,13.94), layer=70, texttype=5))
myconfig_hierarchical_pr.add(gdstk.Label('gnd', (16.46,13.825), layer=70, texttype=5))
myconfig_hierarchical_pr.add(gdstk.Label('gnd', (2.99,1.975), layer=70, texttype=5))
myconfig_hierarchical_pr.add(gdstk.Label('gnd', (10.265,2.09), layer=70, texttype=5))

lib.write_gds('myconfig_hierarchical_predecode3x8.gds')
